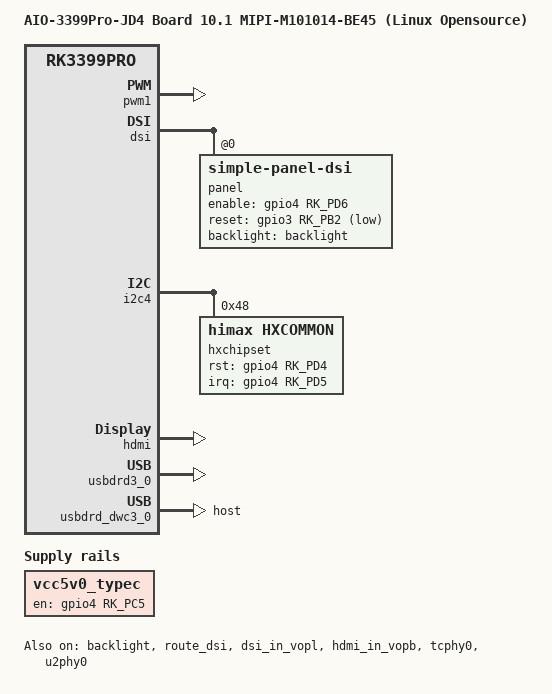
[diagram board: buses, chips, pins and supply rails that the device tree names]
/dts-v1/;
#include "rk3399pro-firefly-port.dtsi"
#include <dt-bindings/display/media-bus-format.h>

/ {
	model = "AIO-3399Pro-JD4 Board 10.1 MIPI-M101014-BE45 (Linux Opensource)";
	compatible = "rockchip,rk3399pro-firefly-aiojd4", "rockchip,rk3399pro";

	vcc5v0_typec: vcc5v0_typec {
        compatible = "regulator-fixed";
        enable-active-high;
        gpio = <&gpio4 RK_PC5 GPIO_ACTIVE_HIGH>;
        pinctrl-names = "default";
        pinctrl-0 = <&host_typec>;
        regulator-name = "vcc5v0_typec";
        regulator-always-on;
    };
};

&pwm1 {
    status = "okay";
};

&backlight {
    status = "okay";
    pwms = <&pwm1 0 50000 1>; 
    enable-gpios = <&gpio1 RK_PC5 GPIO_ACTIVE_HIGH>;
    brightness-levels = <
         60  60  60  61  61  61  62  62
         62  63  63  63  64  64  64  65
         65  65  66  66  66  67  67  67
         68  68  68  69  69  69  70  70
         70  71  71  71  72  72  72  73
         73  73  74  74  74  75  75  75
         76  76  76  77  77  77  78  78
         78  79  79  79  80  80  80  81
         81  81  82  82  82  83  83  83
         84  84  84  85  85  85  86  86
         86  87  87  87  88  88  88  89
         89  89  90  91  92  93  94  95
         96  97  98  99 100 101 102 103
        104 105 106 107 108 109 110 111
        112 113 114 115 116 117 118 119
        120 121 122 123 124 125 126 127
        128 129 130 131 132 133 134 135
        136 137 138 139 140 141 142 143
        144 145 146 147 148 149 150 151
        152 153 154 155 156 157 158 159
        160 161 162 163 164 165 166 167
        168 169 170 171 172 173 174 175
        176 177 178 179 180 181 182 183
        184 185 186 187 188 189 190 191
        192 193 194 195 196 197 198 199
        200 201 202 203 204 205 206 207
        208 209 210 211 212 213 214 215
        216 217 218 219 220 221 222 223
        224 225 226 227 228 229 230 231
        232 233 234 235 236 237 238 239
        240 241 242 243 244 245 246 247
        248 249 250 251 252 253 254 255
    >;
    default-brightness-level = <200>;
    polarity = <1>;
};

&dsi {
	status = "okay";

	panel@0 {
		compatible = "simple-panel-dsi";
		reg = <0>;
		backlight = <&backlight>;
		//power-supply = <&vcc_lcd>;
		enable-gpios = <&gpio4 RK_PD6 GPIO_ACTIVE_HIGH>;
		reset-gpios = <&gpio3 RK_PB2 GPIO_ACTIVE_LOW>;
		dsi,flags = <(MIPI_DSI_MODE_VIDEO | MIPI_DSI_MODE_VIDEO_BURST | MIPI_DSI_MODE_LPM | MIPI_DSI_MODE_EOT_PACKET)>;
		dsi,format = <MIPI_DSI_FMT_RGB888>;
		bus-format = <MEDIA_BUS_FMT_RGB666_1X18>;
		dsi,lanes = <4>;

		enable-delay-ms = <35>;
		prepare-delay-ms = <6>;
		reset-delay-ms = <25>;
		init-delay-ms = <55>;
		unprepare-delay-ms = <0>;
		disable-delay-ms = <20>;
		size,width = <120>;
		size,height = <170>;

		status = "okay";

		//width-mm = <135>;
		//height-mm = <217>;

        panel-init-sequence = [
			05 78 01 11
			05 32 01 29
		];

		panel-exit-sequence = [
			05 05 01 28
			05 78 01 10
		];

		display-timings {
			native-mode = <&timing1>;

			timing1: timing1 {
				clock-frequency = <72600000>;//<80000000>;
				hactive = <800>;//<768>;
				vactive = <1280>;
				hsync-len = <14>;   //20, 50,10
				hback-porch = <26>; //50, 56,10
				hfront-porch = <32>;//50, 30,180
				vsync-len = <8>;//4
				vback-porch = <20>;//4
				vfront-porch = <80>;//8
				hsync-active = <0>;
				vsync-active = <0>;
				de-active = <0>;
				pixelclk-active = <0>;
			};
		};
	};
};

&i2c4 {
    status = "okay";

	hxchipset@48{
        status = "okay";
        compatible = "himax,hxcommon";
        reg = <0x48>;

        himax,rst-gpio =  <&gpio4 RK_PD4 GPIO_ACTIVE_HIGH>;
        himax,irq-gpio = <&gpio4 RK_PD5 IRQ_TYPE_LEVEL_LOW>;
        //himax,3v3-gpio = <&gpio0 RK_PB4 GPIO_ACTIVE_HIGH>;
        //himax,pon-gpio = <&gpio0 RK_PB4 GPIO_ACTIVE_HIGH>;

        himax,panel-coords = <0 800 0 1280>;      //触摸范围
        himax,display-coords = <0 800 0 1280>;    //分辨率
        report_type = <1>;
    };
};

&route_dsi {
	status = "okay";
	connect = <&vopl_out_dsi>;
};

&dsi_in_vopl {
    status = "okay";
};

&dsi_in_vopb {
    status = "disabled";
};

&hdmi {
    status = "okay";
};

&hdmi_in_vopb {
    status = "okay";
};

&hdmi_in_vopl {
	status = "disabled";
};

&dp_in_vopb {
	status = "disabled";
};

&route_hdmi {
    status = "disabled";
    connect = <&vopb_out_hdmi>;
    logo,mode = "center";
};

&vopb {
    assigned-clocks = <&cru DCLK_VOP0_DIV>;
    assigned-clock-parents = <&cru PLL_VPLL>;
};

&vopl {
    assigned-clocks = <&cru DCLK_VOP1_DIV>;
    assigned-clock-parents = <&cru PLL_CPLL>;
};

&cdn_dp {
	status = "disabled";
	extcon = <&fusb0>;
	phys = <&tcphy0_dp>;
};

&fusb0 {
    status = "disabled";
};

&tcphy0 {
    /delete-property/ extcon;
    status = "okay";
};

&u2phy0 {
	status = "okay";
	/delete-property/ extcon;

	u2phy0_otg: otg-port {
		status = "okay";
	};  

	u2phy0_host: host-port {
		phy-supply = <&vcc5v0_host>;
		status = "okay";
	};
};

&usbdrd3_0 {
    status = "okay";
    /delete-property/ extcon;
};

&usbdrd_dwc3_0 {
    status = "okay";
    dr_mode = "host";
};
